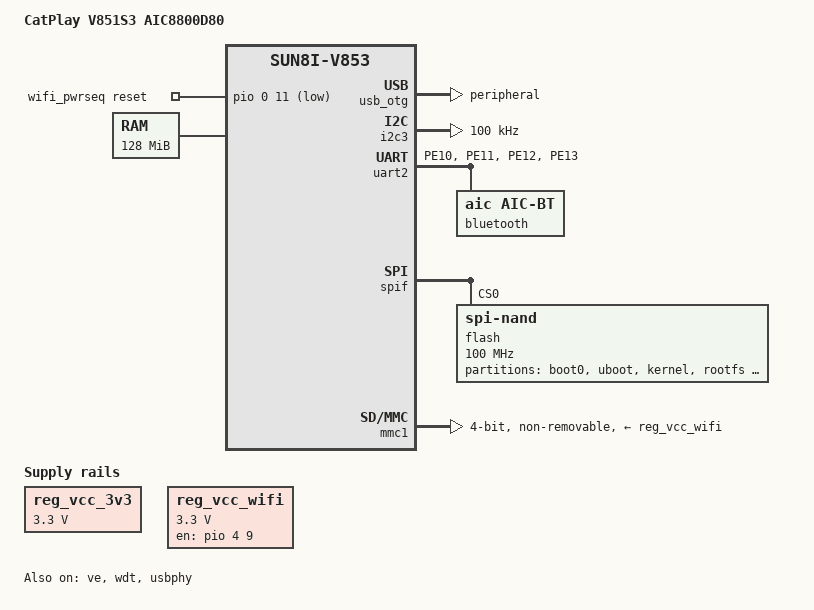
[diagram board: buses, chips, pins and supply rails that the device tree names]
// SPDX-License-Identifier: GPL-2.0-only
/dts-v1/;
#include "sun8i-v853.dtsi"
#include <dt-bindings/gpio/gpio.h>

/ {
	model = "CatPlay V851S3 AIC8800D80";
	compatible = "catplay,v851s3-aic8800d80", "allwinner,v851s", "allwinner,sun8i-v853";
	/delete-node/ thermal-zones;

	reg_vcc_3v3: vcc-3v3 {
		compatible = "regulator-fixed";
		regulator-name = "vcc-3v3";
		regulator-min-microvolt = <3300000>;
		regulator-max-microvolt = <3300000>;
	};

	/* Vendor V851S DT identifies PE9 as chip_en. */
	reg_vcc_wifi: regulator-vcc-wifi {
		compatible = "regulator-fixed";
		regulator-name = "vcc_wifi";
		regulator-min-microvolt = <3300000>;
		regulator-max-microvolt = <3300000>;
		gpio = <&pio 4 9 GPIO_ACTIVE_HIGH>; /* PE9: chip_en */
		enable-active-high;
	};

	wifi_pwrseq: wifi-pwrseq {
		compatible = "mmc-pwrseq-simple";
		reset-gpios = <&pio 0 11 GPIO_ACTIVE_LOW>; /* PA11: wlan_regon */
		post-power-on-delay-ms = <100>;
		power-off-delay-us = <5000000>;
	};

	aliases {
		serial0 = &uart0;
		i2c3 = &i2c3;
	};

	chosen {
		bootargs = C2A_BOOTARGS;
	};

	memory@40000000 {
		device_type = "memory";
		reg = <0x40000000 0x08000000>;
	};
};

&mbus {
	status = "disabled";
};

&ve {
	status = "okay";
};

&wdt {
	status = "okay";
};

&usb_otg {
	dr_mode = "peripheral";
	usb-role-switch;
	status = "okay";
};

&usbphy {
	status = "okay";
};

&dcxo {
	clock-frequency = <24000000>;
};

&pio {
	vcc-pc-supply = <&reg_vcc_3v3>;

	/* The vendor DT routes four-wire UART2 to PE10-PE13. */
	uart2_pe10_pins: uart2-pe10-pins {
		pins = "PE10", "PE11", "PE12", "PE13";
		function = "uart2";
		allwinner,pinmux = <6>;
		bias-pull-up;
	};
};

/* Vendor MFI wiring: PH13 SCL / PH14 SDA, using hardware TWI3 mux 5. */
&i2c3_ph13_pins {
	bias-pull-up;
};

&i2c3 {
	pinctrl-names = "default";
	pinctrl-0 = <&i2c3_ph13_pins>;
	clock-frequency = <100000>;
	status = "okay";
};

&uart2 {
	status = "okay";
	pinctrl-names = "default";
	pinctrl-0 = <&uart2_pe10_pins>;
	uart-has-rtscts;

	bluetooth {
		compatible = "aic,aic-bt";
		/* TODO: 1.5M baudrate unstable - random command timeouts */
		max-speed = <115200 /* 1500000 */>;
		uart-has-rtscts;
	};
};

/* SPI sampling mode 1 selects a half-cycle delay; 18 is the tuned delay tap. */
&spi0 {
	compatible = "allwinner,sun8i-v851-spi", "allwinner,sun50i-r329-spi";
	allwinner,sample-mode = <1>;
	allwinner,sample-delay = <18>;
	pinctrl-0 = <&spi0_pins>;
	pinctrl-names = "default";
	status = "disabled";

	flash@0 {
		compatible = "spi-nand";
		reg = <0>;
		spi-max-frequency = <100000000>;
		spi-rx-bus-width = <4>;
		spi-tx-bus-width = <4>;

		partitions {
			compatible = "fixed-partitions";
			#address-cells = <1>;
			#size-cells = <1>;

			partition@0 {
				label = "boot0";
				reg = <0x00000000 0x00100000>;
			};
			partition@100000 {
				label = "uboot";
				reg = <0x00100000 0x00100000>;
			};
			partition@200000 {
				label = "kernel";
				reg = <0x00200000 0x00800000>;
			};
			partition@a00000 {
				label = "rootfs";
				reg = <0x00a00000 0x01000000>;
			};
			partition@1a00000 {
				label = "persist";
				reg = <0x01a00000 0x01000000>;
			};
		};
	};
};

&spif {
	allwinner,sample-mode = <0>;
	allwinner,sample-delay = <25>;
	status = "okay";

	flash@0 {
		compatible = "spi-nand";
		reg = <0>;
		spi-max-frequency = <100000000>;
		spi-rx-bus-width = <4>;
		spi-tx-bus-width = <4>;

		partitions {
			compatible = "fixed-partitions";
			#address-cells = <1>;
			#size-cells = <1>;

			partition@0 {
				label = "boot0";
				reg = <0x00000000 0x00100000>;
			};
			partition@100000 {
				label = "uboot";
				reg = <0x00100000 0x00100000>;
			};
			partition@200000 {
				label = "kernel";
				reg = <0x00200000 0x00800000>;
			};
			partition@a00000 {
				label = "rootfs";
				reg = <0x00a00000 0x01000000>;
			};
			partition@1a00000 {
				label = "persist";
				reg = <0x01a00000 0x01000000>;
			};
		};
	};
};

&mmc1 {
	pinctrl-names = "default";
	pinctrl-0 = <&mmc1_pins>;
	max-frequency = <50000000>;
	bus-width = <4>;
	non-removable;
	cap-sdio-irq;
	ignore-pm-notify;
	keep-power-in-suspend;
	no-mmc;
	no-sd;
	vmmc-supply = <&reg_vcc_wifi>;
	mmc-pwrseq = <&wifi_pwrseq>;
	c2a,btmode_pin = <10>; /* PA10: vendor wifi_antenna_select */
	c2a,btmode-bias-pull-down; /* Vendor WLAN pinctrl: PA10 gpio_in, pull=2 */
	/* TODO: 1.5M baudrate unstable - random command timeouts */
	c2a,uart_baud = <115200 /* 1500000 */>;
	c2a,uart_flowctrl = <1>;
	status = "okay";
};
